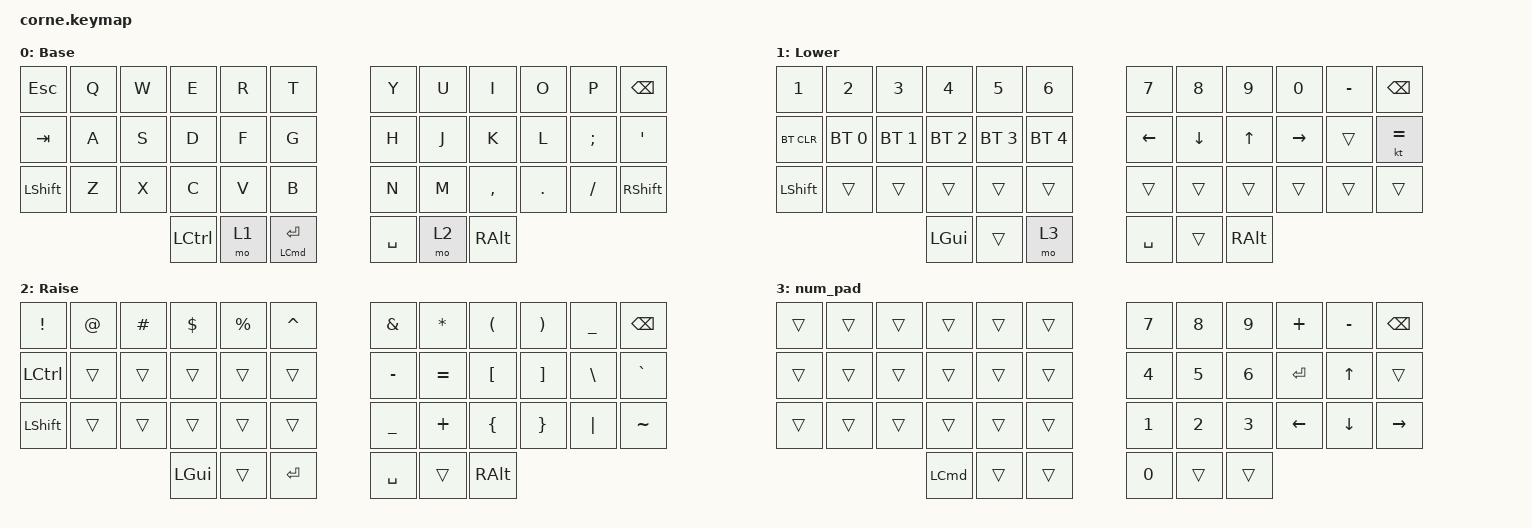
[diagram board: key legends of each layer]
/*
 * Copyright (c) 2020 The ZMK Contributors
 *
 * SPDX-License-Identifier: MIT
 */

#include <behaviors.dtsi>
#include <dt-bindings/zmk/bt.h>
#include <dt-bindings/zmk/keys.h>
#include <dt-bindings/zmk/keys.h>

/ {
    keymap {
        compatible = "zmk,keymap";

        default_layer {
            // -----------------------------------------------------------------------------------------
            // |  TAB |  Q  |  W  |  E  |  R  |  T  |   |  Y  |  U   |  I  |  O  |  P  | BKSP |
            // | CTRL |  A  |  S  |  D  |  F  |  G  |   |  H  |  J   |  K  |  L  |  ;  |  '   |
            // | SHFT |  Z  |  X  |  C  |  V  |  B  |   |  N  |  M   |  ,  |  .  |  /  | SHFT  |
            //                    | GUI | LWR | CMD |   | SPC | RSE  | ALT |

            display-name = "Base";
            bindings = <
&kp ESC    &kp Q  &kp W  &kp E             &kp R  &kp T           &kp Y      &kp U  &kp I      &kp O    &kp P     &kp BSPC
&kp TAB    &kp A  &kp S  &kp D             &kp F  &kp G           &kp H      &kp J  &kp K      &kp L    &kp SEMI  &kp SQT
&kp LSHFT  &kp Z  &kp X  &kp C             &kp V  &kp B           &kp N      &kp M  &kp COMMA  &kp DOT  &kp FSLH  &kp RSHFT
                         &kp LEFT_CONTROL  &mo 1  &mt LCMD RET    &kp SPACE  &mo 2  &kp RALT
            >;
        };

        lower_layer {
            // -----------------------------------------------------------------------------------------
            // |  ESC |  1  |  2  |  3  |  4  |  5  |   |  6  |  7  |  8  |  9  |  0  | BKSP |
            // | BTCLR| BT1 | BT2 | BT3 | BT4 | BT5 |   | LFT | DWN |  UP | RGT |     |      |
            // | SHFT |     |     |     |     |     |   |     |     |     |     |     |      |
            //                    | GUI |     | ENT |   | SPC |     | ALT |

            display-name = "Lower";
            bindings = <
&kp NUMBER_1  &kp NUMBER_2  &kp NUMBER_3  &kp NUMBER_4  &kp N5        &kp NUMBER_6    &kp N7     &kp N8    &kp N9    &kp N0     &kp MINUS  &kp BSPC
&bt BT_CLR    &bt BT_SEL 0  &bt BT_SEL 1  &bt BT_SEL 2  &bt BT_SEL 3  &bt BT_SEL 4    &kp LEFT   &kp DOWN  &kp UP    &kp RIGHT  &trans     &kt EQUAL
&kp LSHFT     &trans        &trans        &trans        &trans        &trans          &trans     &trans    &trans    &trans     &trans     &trans
                                          &kp LGUI      &trans        &mo 3           &kp SPACE  &trans    &kp RALT
            >;
        };

        raise_layer {
            // -----------------------------------------------------------------------------------------
            // |  TAB |  !  |  @  |  #  |  $  |  %  |   |  ^  |  &  |  *  |  (  |  )  | BKSP |
            // | CTRL |     |     |     |     |     |   |  -  |  =  |  [  |  ]  |  \  |  `   |
            // | SHFT |     |     |     |     |     |   |  _  |  +  |  {  |  }  | "|" |  ~   |
            //                    | GUI |     | ENT |   | SPC |     | ALT |

            display-name = "Raise";
            bindings = <
&kp EXCL   &kp AT  &kp HASH  &kp DOLLAR  &kp PERCENT  &kp CARET    &kp AMPERSAND  &kp ASTERISK  &kp LEFT_PARENTHESIS  &kp RIGHT_PARENTHESIS  &kp UNDERSCORE  &kp BSPC
&kp LCTRL  &trans  &trans    &trans      &trans       &trans       &kp MINUS      &kp EQUAL     &kp LBKT              &kp RBKT               &kp BSLH        &kp GRAVE
&kp LSHFT  &trans  &trans    &trans      &trans       &trans       &kp UNDER      &kp PLUS      &kp LBRC              &kp RBRC               &kp PIPE        &kp TILDE
                             &kp LGUI    &trans       &kp RET      &kp SPACE      &trans        &kp RALT
            >;
        };

        num_pad {
            bindings = <
&trans  &trans  &trans  &trans            &trans  &trans    &kp N7  &kp N8  &kp N9  &kp PLUS        &kp MINUS       &kp BACKSPACE
&trans  &trans  &trans  &trans            &trans  &trans    &kp N4  &kp N5  &kp N6  &kp ENTER       &kp UP_ARROW    &trans
&trans  &trans  &trans  &trans            &trans  &trans    &kp N1  &kp N2  &kp N3  &kp LEFT_ARROW  &kp DOWN_ARROW  &kp RIGHT
                        &kp LEFT_COMMAND  &trans  &trans    &kp N0  &trans  &trans
            >;
        };
    };
};
